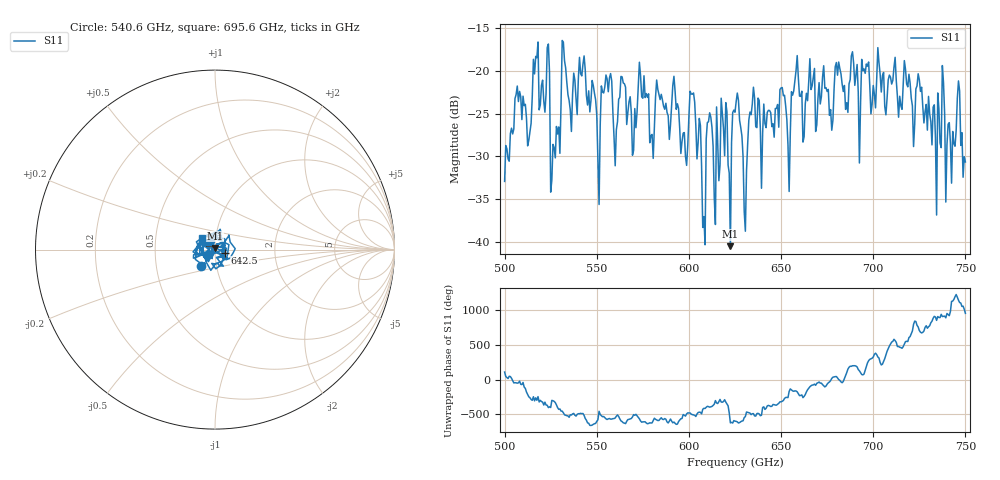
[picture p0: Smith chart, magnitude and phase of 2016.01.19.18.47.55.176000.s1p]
!Created with skrf (http://scikit-rf.org).
# GHz S RI R 50.0
!freq ReS11 ImS11
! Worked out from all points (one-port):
!   401 points, 500 GHz to 750 GHz, reference 50 ohm
!   lowest |S11| = -40.5 dB at 622.5 GHz (marker M1), VSWR 1.02, Z = 49.9 + j0.929 ohm
!   |S11| at or under -10 dB: start of sweep to end of sweep
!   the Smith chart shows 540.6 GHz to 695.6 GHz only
!   S11 on the Smith chart (normalised r, x): 540.6 GHz: 0.84, -0.16; 642.5 GHz: 1.11, -0.04; 695.6 GHz: 0.86, +0.11
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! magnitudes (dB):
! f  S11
! 500 GHz  -32.9
! 506.9 GHz  -21.8
! 513.1 GHz  -28.1
! 516.9 GHz  -18.3
! 523.1 GHz  -17.3
! 526.2 GHz  -28.6
! 531.2 GHz  -16.4
! 540.6 GHz  -18.4
! 550.6 GHz  -30.2
! 553.8 GHz  -22.6
! 562.5 GHz  -23.1
! 593.8 GHz  -23.9
! 598.1 GHz  -30.0
! 601.9 GHz  -22.7
! 608.1 GHz  -37.1
! 611.2 GHz  -24.9
! 622.5 GHz  -40.5
! 625 GHz  -24.8
! 630.6 GHz  -38.8
! 634.4 GHz  -23.9
! 642.5 GHz  -24.9
! 656.2 GHz  -22.8
! 687.5 GHz  -21.0
! 695.6 GHz  -20.3
! 718.8 GHz  -21.9
! 733.1 GHz  -24.0
! 746.9 GHz  -22.4
! 750 GHz  -30.7
